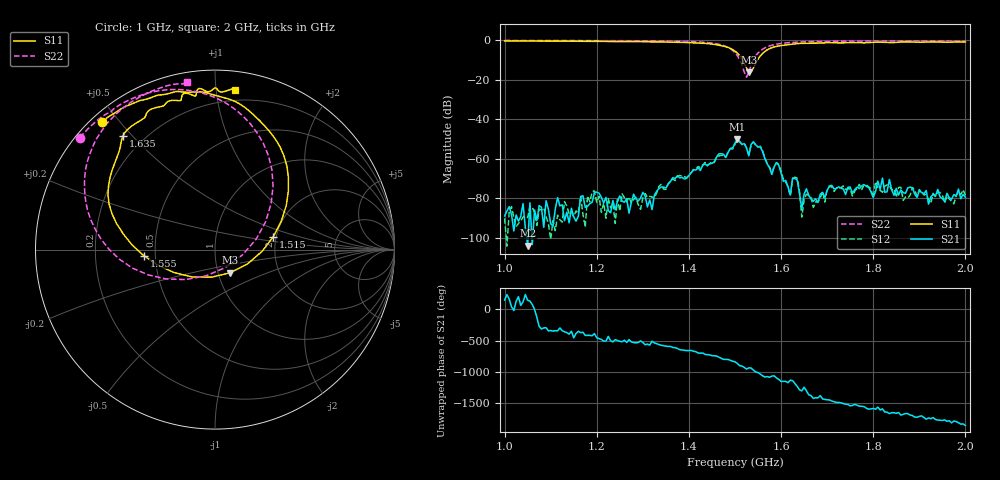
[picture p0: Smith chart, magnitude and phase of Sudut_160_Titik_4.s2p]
# Hz S RI R 50
! CMT, C1220, 16058040, 17.2.0/1
! Date: 14/08/2018 12:31:00
! Data: Format (Calibration Info)
! Freq  S11: Re/Im (F2)  S21: Re/Im (F2)  S12: Re/Im (F2)  S22: Re/Im (F2)
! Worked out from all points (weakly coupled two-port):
!   201 points, 1 GHz to 2 GHz, reference 50 ohm
!   highest |S21| = -50.10 dB at 1.505 GHz (marker M1); lowest = -104.0 dB at 1.05 GHz (marker M2)
!   lowest |S11| = -16.2 dB at 1.53 GHz (marker M3), VSWR 1.37, Z = 57.3 - j15.1 ohm
!   |S11| at or under -10 dB: 1.516 GHz to 1.549 GHz (33 MHz wide, 2.15 % of centre)
!   |S22| runs from -18.8 to -0.2 dB; largest |S21 - S12| = 0.00021
!   S11 on the Smith chart (normalised r, x): 1 GHz: 0.03, +0.45; 1.515 GHz: 1.93, +0.31; 1.555 GHz: 0.43, -0.03; 1.635 GHz: 0.13, +0.47; 2 GHz: 0.13, +1.13
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1e9  -0.6289 0.7103  -3.1e-05 1.71e-05  -1.09e-05 -2.91e-05  -0.7533 0.6239
1.05e9  -0.5869 0.744  -5.34e-06 3.34e-06  -7.62e-06 3.13e-05  -0.719 0.6607
1.17e9  -0.4523 0.8163  0.000115 -1.28e-05  2.87e-05 -2.73e-05  -0.6172 0.749
1.335e9  -0.1874 0.8785  -0.000161 7e-05  -0.000179 9.04e-05  -0.4018 0.8635
1.45e9  0.196 0.7678  0.000706 -0.000286  0.000739 -0.000377  0.0196 0.8382
1.5e9  0.4089 0.3281  -0.0012 -0.00216  -0.00108 -0.00204  0.3235 0.3548
1.505e9  0.3974 0.2467  -0.00266 -0.00163  -0.00248 -0.00164  0.3131 0.2588
1.515e9  0.3253 0.0723  -0.00226 0.000367  -0.00227 0.00035  0.2295 0.0584
1.53e9  0.0858 -0.1286  -0.000943 0.000717  -0.000978 0.000749  -0.0497 -0.1463
1.555e9  -0.3968 -0.0337  0.00146 0.00134  0.00144 0.00148  -0.5323 -0.0537
1.58e9  -0.5901 0.2537  0.000394 6.36e-05  0.000438 6.64e-05  -0.7091 0.215
1.595e9  -0.5847 0.4032  0.0005 -0.000461  0.000515 -0.000493  -0.727 0.3448
1.62e9  -0.5285 0.5693  6.76e-05 -9.96e-05  8.51e-05 -7.73e-05  -0.7088 0.4983
1.635e9  -0.5134 0.6322  -0.000266 -0.000117  -0.000295 -0.000127  -0.6856 0.5641
1.645e9  -0.488 0.6682  -3.64e-05 3.9e-05  -2.63e-05 2.08e-05  -0.6691 0.6003
1.67e9  -0.4021 0.7276  8.24e-05 1.69e-05  5.63e-05 1.56e-05  -0.6251 0.6714
1.77e9  -0.2103 0.8306  -6.62e-05 -0.000162  -8.7e-05 -0.000207  -0.4694 0.8202
1.8e9  -0.1839 0.8593  -8.99e-05 -5.53e-05  -1.85e-05 0.000101  -0.4264 0.8466
1.805e9  -0.1787 0.8666  -0.000142 -4.16e-05  -0.000261 1.45e-05  -0.4191 0.8506
1.835e9  -0.1147 0.8562  -0.00018 0.000236  -0.00015 0.000147  -0.3787 0.8715
1.845e9  -0.1059 0.8598  -9.31e-05 7.44e-05  -0.00014 0.000101  -0.3651 0.8779
2e9  0.1125 0.8865  4.86e-05 -9.48e-05  8.83e-05 -8.01e-05  -0.1555 0.9316
